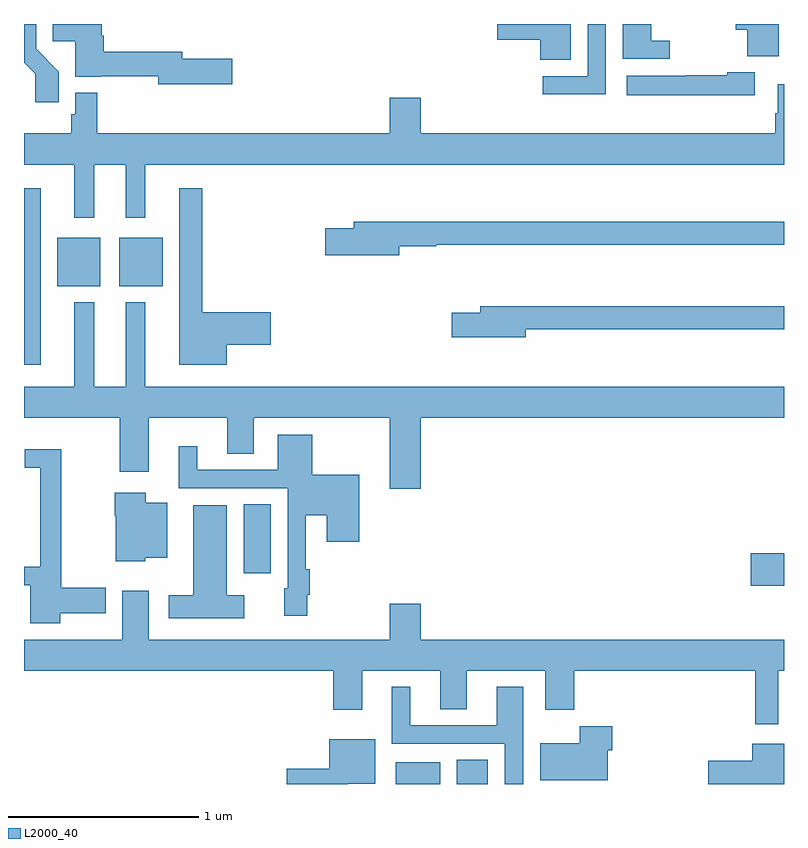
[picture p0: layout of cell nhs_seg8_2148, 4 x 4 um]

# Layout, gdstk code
import gdstk
lib = gdstk.Library(unit=1e-6, precision=1e-09)
def R(c, l, rs):  # rectangles x0, y0, x1, y1
    for r in rs: c.add(gdstk.rectangle(r[:2], r[2:], *l))
def P(c, l, *ps):  # polygons
    for p in ps: c.add(gdstk.Polygon(p, *l))
L2000_40 = (2000, 40)

nhs_seg8_2148 = lib.new_cell('nhs_seg8_2148')
R(nhs_seg8_2148, L2000_40, [(248.957,1119.9,249.19,1120.015), (249.278,1119.9,249.442,1120.028), (250.824,1120.943,251,1121.114), (248.156,1121.01,248.299,1121.372), (247,1122.107,247.087,1123.036), (247.175,1122.521,247.402,1122.775), (247.502,1122.521,247.729,1122.775)])
P(nhs_seg8_2148, L2000_40, [(247.184,1123.65),(247.065,1123.769),(247.065,1123.9),(247,1123.9),(247,1123.697),(247.059,1123.639),(247.059,1123.488),(247.184,1123.488)],
  [(249.877,1123.9),(249.492,1123.9),(249.492,1123.817),(249.716,1123.817),(249.716,1123.711),(249.877,1123.711)],
  [(250.399,1123.812),(250.3,1123.812),(250.3,1123.9),(250.151,1123.9),(250.151,1123.716),(250.399,1123.716)],
  [(248.095,1123.718),(247.834,1123.718),(247.834,1123.754),(247.421,1123.754),(247.421,1123.838),(247.408,1123.838),(247.408,1123.9),(247.15,1123.9),(247.15,1123.81),(247.271,1123.81),(247.271,1123.622),(247.404,1123.622),(247.404,1123.626),(247.706,1123.626),(247.706,1123.583),(248.095,1123.583)],
  [(250.062,1123.9),(249.966,1123.9),(249.966,1123.626),(249.729,1123.626),(249.729,1123.529),(250.062,1123.529)],
  [(250.972,1123.9),(250.745,1123.9),(250.745,1123.871),(250.807,1123.871),(250.807,1123.73),(250.972,1123.73)],
  [(250.846,1123.645),(250.701,1123.645),(250.701,1123.63),(250.486,1123.63),(250.486,1123.627),(250.173,1123.627),(250.173,1123.526),(250.846,1123.526)],
  [(247.369,1123.16),(247.535,1123.16),(247.535,1122.879),(247.639,1122.879),(247.639,1123.16),(251,1123.16),(251,1123.582),(250.967,1123.582),(250.967,1123.43),(250.955,1123.43),(250.955,1123.324),(249.088,1123.324),(249.088,1123.513),(248.924,1123.513),(248.924,1123.324),(247.385,1123.324),(247.385,1123.537),(247.269,1123.537),(247.269,1123.425),(247.249,1123.425),(247.249,1123.324),(247,1123.324),(247,1123.16),(247.265,1123.16),(247.265,1122.879),(247.369,1122.879)],
  [(248.068,1122.212),(248.299,1122.212),(248.299,1122.383),(247.939,1122.383),(247.939,1123.036),(247.817,1123.036),(247.817,1122.107),(248.068,1122.107)],
  [(248.974,1122.73),(249.17,1122.73),(249.17,1122.738),(251,1122.738),(251,1122.859),(248.735,1122.859),(248.735,1122.825),(248.586,1122.825),(248.586,1122.683),(248.974,1122.683)],
  [(249.088,1121.828),(251,1121.828),(251,1121.992),(247.639,1121.992),(247.639,1122.436),(247.535,1122.436),(247.535,1121.992),(247.369,1121.992),(247.369,1122.436),(247.265,1122.436),(247.265,1121.992),(247,1121.992),(247,1121.828),(247.505,1121.828),(247.505,1121.544),(247.657,1121.544),(247.657,1121.828),(248.069,1121.828),(248.069,1121.638),(248.209,1121.638),(248.209,1121.828),(248.924,1121.828),(248.924,1121.454),(249.088,1121.454)],
  [(249.64,1122.294),(251,1122.294),(251,1122.415),(249.401,1122.415),(249.401,1122.381),(249.252,1122.381),(249.252,1122.251),(249.64,1122.251)],
  [(248.492,1120.897),(248.504,1120.897),(248.504,1121.029),(248.484,1121.029),(248.484,1121.315),(248.594,1121.315),(248.594,1121.175),(248.765,1121.175),(248.765,1121.527),(248.518,1121.527),(248.518,1121.737),(248.336,1121.737),(248.336,1121.553),(247.912,1121.553),(247.912,1121.677),(247.814,1121.677),(247.814,1121.457),(248.388,1121.457),(248.388,1120.929),(248.369,1120.929),(248.369,1120.785),(248.492,1120.785)],
  [(247.191,1120.799),(247.429,1120.799),(247.429,1120.934),(247.195,1120.934),(247.195,1121.662),(247.005,1121.662),(247.005,1121.565),(247.086,1121.565),(247.086,1121.043),(247,1121.043),(247,1120.947),(247.034,1120.947),(247.034,1120.746),(247.191,1120.746)],
  [(247.638,1121.09),(247.753,1121.09),(247.753,1121.38),(247.642,1121.38),(247.642,1121.434),(247.477,1121.434),(247.477,1121.312),(247.484,1121.312),(247.484,1121.072),(247.638,1121.072)],
  [(248.158,1120.894),(248.068,1120.894),(248.068,1121.368),(247.892,1121.368),(247.892,1120.894),(247.761,1120.894),(247.761,1120.772),(248.158,1120.772)],
  [(250.969,1120.496),(251,1120.496),(251,1120.66),(249.088,1120.66),(249.088,1120.849),(248.924,1120.849),(248.924,1120.66),(247.657,1120.66),(247.657,1120.918),(247.517,1120.918),(247.517,1120.66),(247,1120.66),(247,1120.496),(248.627,1120.496),(248.627,1120.29),(248.779,1120.29),(248.779,1120.496),(249.191,1120.496),(249.191,1120.294),(249.331,1120.294),(249.331,1120.496),(249.743,1120.496),(249.743,1120.29),(249.896,1120.29),(249.896,1120.496),(250.848,1120.496),(250.848,1120.215),(250.969,1120.215)],
  [(249.627,1120.411),(249.488,1120.411),(249.488,1120.209),(249.034,1120.209),(249.034,1120.411),(248.936,1120.411),(248.936,1120.113),(249.531,1120.113),(249.531,1119.9),(249.627,1119.9)],
  [(250.072,1120.077),(250.097,1120.077),(250.097,1120.203),(249.926,1120.203),(249.926,1120.114),(249.716,1120.114),(249.716,1119.92),(250.072,1119.92)],
  [(248.703,1119.902),(248.848,1119.902),(248.848,1120.135),(248.607,1120.135),(248.607,1119.98),(248.383,1119.98),(248.383,1119.9),(248.703,1119.9)],
  [(251,1120.111),(250.832,1120.111),(250.832,1120.023),(250.602,1120.023),(250.602,1119.9),(251,1119.9)])

lib.write_gds('nhs_seg8_2148.gds')
